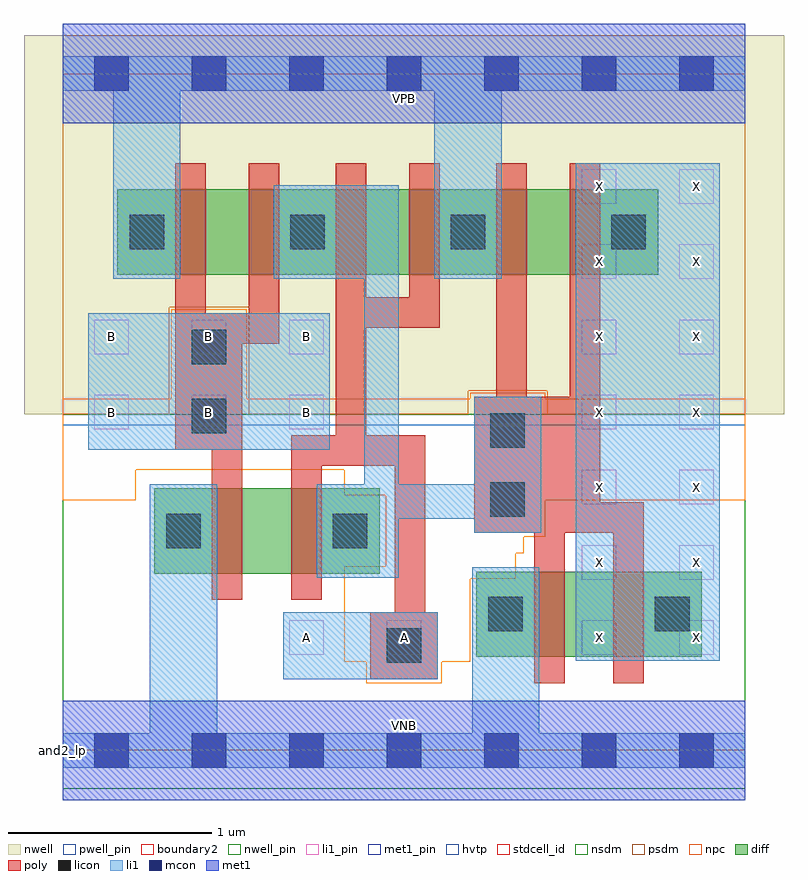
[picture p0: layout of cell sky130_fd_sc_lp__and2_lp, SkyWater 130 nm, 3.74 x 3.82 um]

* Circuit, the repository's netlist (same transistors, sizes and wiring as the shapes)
* Copyright 2020 The SkyWater PDK Authors
*
* Licensed under the Apache License, Version 2.0 (the "License");
* you may not use this file except in compliance with the License.
* You may obtain a copy of the License at
*
*     https://www.apache.org/licenses/LICENSE-2.0
*
* Unless required by applicable law or agreed to in writing, software
* distributed under the License is distributed on an "AS IS" BASIS,
* WITHOUT WARRANTIES OR CONDITIONS OF ANY KIND, either express or implied.
* See the License for the specific language governing permissions and
* limitations under the License.
*
* SPDX-License-Identifier: Apache-2.0

.SUBCKT sky130_fd_sc_lp__and2_lp A B VGND VNB VPB VPWR X
*.PININFO A:I B:I VGND:I VNB:I VPB:I VPWR:I X:O
MMP0 y A net25 VPB sky130_fd_pr__pfet_01v8_hvt m=1 w=0.42U l=0.15U mult=1 sa=0.265
+ sb=0.265 sd=0.28 area=0.063 perim=1.14
MMP1 y B net28 VPB sky130_fd_pr__pfet_01v8_hvt m=1 w=0.42U l=0.15U mult=1 sa=0.265
+ sb=0.265 sd=0.28 area=0.063 perim=1.14
MMIP0 X y net33 VPB sky130_fd_pr__pfet_01v8_hvt m=1 w=0.42U l=0.15U mult=1 sa=0.265
+ sb=0.265 sd=0.28 area=0.063 perim=1.14
MI8 net28 B VPWR VPB sky130_fd_pr__pfet_01v8_hvt m=1 w=0.42U l=0.15U mult=1 sa=0.265
+ sb=0.265 sd=0.28 area=0.063 perim=1.14
MI7 net25 A VPWR VPB sky130_fd_pr__pfet_01v8_hvt m=1 w=0.42U l=0.15U mult=1 sa=0.265
+ sb=0.265 sd=0.28 area=0.063 perim=1.14
MI6 net33 y VPWR VPB sky130_fd_pr__pfet_01v8_hvt m=1 w=0.42U l=0.15U mult=1 sa=0.265
+ sb=0.265 sd=0.28 area=0.063 perim=1.14
MMN0 y A sndA VNB sky130_fd_pr__nfet_01v8 m=1 w=0.42U l=0.15U mult=1 sa=0.265 sb=0.265
+ sd=0.28 area=0.063 perim=1.14
MMN1 sndA B VGND VNB sky130_fd_pr__nfet_01v8 m=1 w=0.42U l=0.15U mult=1 sa=0.265
+ sb=0.265 sd=0.28 area=0.063 perim=1.14
MMIN0 X y net45 VNB sky130_fd_pr__nfet_01v8 m=1 w=0.42U l=0.15U mult=1 sa=0.265
+ sb=0.265 sd=0.28 area=0.063 perim=1.14
MI5 net45 y VGND VNB sky130_fd_pr__nfet_01v8 m=1 w=0.42U l=0.15U mult=1 sa=0.265
+ sb=0.265 sd=0.28 area=0.063 perim=1.14
.ENDS sky130_fd_sc_lp__and2_lp

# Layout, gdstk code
import gdstk
lib = gdstk.Library(unit=1e-6, precision=1e-09)
def R(c, l, rs):  # rectangles x0, y0, x1, y1
    for r in rs: c.add(gdstk.rectangle(r[:2], r[2:], *l))
def A(c, l, x, y, w, h, nx, ny, dx, dy):  # array of equal rectangles
    R(c, l, [(x+i*dx, y+j*dy, x+i*dx+w, y+j*dy+h) for i in range(nx) for j in range(ny)])
def P(c, l, *ps):  # polygons
    for p in ps: c.add(gdstk.Polygon(p, *l))
nwell_pin = (64, 16)
nwell = (64, 20)
diff = (65, 20)
poly = (66, 20)
licon = (66, 44)
li1_pin = (67, 16)
li1 = (67, 20)
mcon = (67, 44)
met1_pin = (68, 16)
met1 = (68, 20)
hvtp = (78, 44)
stdcell_id = (81, 4)
nsdm = (93, 44)
psdm = (94, 20)
npc = (95, 20)
pwell_pin = (122, 16)
boundary2 = (236, 0)

sky130_fd_sc_lp__and2_lp = lib.new_cell('sky130_fd_sc_lp__and2_lp')
R(sky130_fd_sc_lp__and2_lp, nwell_pin, [(0,3.085,3.36,3.33)])
R(sky130_fd_sc_lp__and2_lp, nwell, [(-0.19,1.655,3.55,3.52)])
R(sky130_fd_sc_lp__and2_lp, diff, [(2.035,0.46,3.145,0.88), (0.45,0.87,1.56,1.29), (0.27,2.34,2.93,2.76)])
P(sky130_fd_sc_lp__and2_lp, poly, [(1.065,2.89),(0.915,2.89),(0.915,2.15),(0.705,2.15),(0.705,2.89),(0.555,2.89),(0.555,1.48),(0.735,1.48),(0.735,0.74),(0.885,0.74),(0.885,2),(1.065,2)],
  [(1.855,2.89),(1.705,2.89),(1.705,2.23),(1.495,2.23),(1.495,2.89),(1.345,2.89),(1.345,1.55),(1.125,1.55),(1.125,0.74),(1.275,0.74),(1.275,1.4),(1.635,1.4),(1.635,0.68),(1.515,0.68),(1.515,0.35),(1.845,0.35),(1.845,0.68),(1.785,0.68),(1.785,1.55),(1.495,1.55),(1.495,2.08),(1.855,2.08)],
  [(2.86,1.22),(2.645,1.22),(2.645,2.89),(2.495,2.89),(2.495,1.74),(2.285,1.74),(2.285,2.89),(2.135,2.89),(2.135,1.74),(2.025,1.74),(2.025,1.07),(2.32,1.07),(2.32,0.33),(2.47,0.33),(2.47,1.07),(2.71,1.07),(2.71,0.33),(2.86,0.33)])
A(sky130_fd_sc_lp__and2_lp, licon, 0.33, 2.465, 0.17, 0.17, 4, 1, 0.79, 0)
R(sky130_fd_sc_lp__and2_lp, licon, [(1.595,0.43,1.765,0.6), (2.095,0.585,2.265,0.755), (2.915,0.585,3.085,0.755), (0.51,0.995,0.68,1.165), (1.33,0.995,1.5,1.165), (2.105,1.15,2.275,1.32), (2.105,1.49,2.275,1.66), (0.635,1.56,0.805,1.73), (0.635,1.9,0.805,2.07)])
A(sky130_fd_sc_lp__and2_lp, li1_pin, 2.555, 0.47, 0.17, 0.17, 1, 7, 0, 0.37)
A(sky130_fd_sc_lp__and2_lp, li1_pin, 3.035, 0.47, 0.17, 0.17, 1, 7, 0, 0.37)
A(sky130_fd_sc_lp__and2_lp, li1_pin, 0.155, 1.58, 0.17, 0.17, 3, 2, 0.48, 0.37)
R(sky130_fd_sc_lp__and2_lp, li1_pin, [(1.115,0.47,1.285,0.64), (1.595,0.47,1.765,0.64)])
R(sky130_fd_sc_lp__and2_lp, li1, [(1.085,0.35,1.845,0.68), (2.525,0.44,3.235,2.89), (0.125,1.48,1.315,2.15)])
P(sky130_fd_sc_lp__and2_lp, li1, [(1.83,2.32),(1.83,3.245),(0.58,3.245),(0.58,2.32),(0.25,2.32),(0.25,3.245),(0,3.245),(0,3.415),(3.36,3.415),(3.36,3.245),(2.16,3.245),(2.16,2.32)],
  [(0.43,0.085),(0.43,1.31),(0.76,1.31),(0.76,0.085),(2.015,0.085),(2.015,0.9),(2.345,0.9),(2.345,0.085),(3.36,0.085),(3.36,-0.085),(0,-0.085),(0,0.085)],
  [(2.025,1.14),(1.655,1.14),(1.655,0.85),(1.25,0.85),(1.25,1.31),(1.485,1.31),(1.485,2.32),(1.04,2.32),(1.04,2.78),(1.655,2.78),(1.655,1.31),(2.025,1.31),(2.025,1.74),(2.355,1.74),(2.355,1.07),(2.025,1.07)])
A(sky130_fd_sc_lp__and2_lp, mcon, 0.155, -0.085, 0.17, 0.17, 7, 2, 0.48, 3.33)
R(sky130_fd_sc_lp__and2_lp, met1_pin, [(0,0,3.36,0.245), (0,3.085,3.36,3.33)])
R(sky130_fd_sc_lp__and2_lp, met1, [(0,-0.245,3.36,0.245), (0,3.085,3.36,3.575)])
R(sky130_fd_sc_lp__and2_lp, hvtp, [(0,1.6,3.36,3.33)])
R(sky130_fd_sc_lp__and2_lp, stdcell_id, [(0,0,3.36,3.33)])
R(sky130_fd_sc_lp__and2_lp, nsdm, [(0,-0.19,3.36,1.655)])
P(sky130_fd_sc_lp__and2_lp, psdm, [(3.36,3.52),(0,3.52),(0,1.655),(0.525,1.655),(0.525,2.18),(0.915,2.18),(0.915,1.655),(1.995,1.655),(1.995,1.77),(2.385,1.77),(2.385,1.655),(3.36,1.655)])
P(sky130_fd_sc_lp__and2_lp, npc, [(3.36,1.73),(2.375,1.73),(2.375,1.76),(2.005,1.76),(2.005,1.73),(0.905,1.73),(0.905,2.17),(0.535,2.17),(0.535,1.73),(0,1.73),(0,1.23),(0.36,1.23),(0.36,1.38),(1.385,1.38),(1.385,1.255),(1.59,1.255),(1.59,0.905),(1.385,0.905),(1.385,0.435),(1.495,0.435),(1.495,0.33),(1.865,0.33),(1.865,0.435),(2.005,0.435),(2.005,0.845),(2.23,0.845),(2.23,0.97),(2.27,0.97),(2.27,1.05),(2.375,1.05),(2.375,1.23),(3.36,1.23)])
R(sky130_fd_sc_lp__and2_lp, pwell_pin, [(0,0,3.36,0.245)])
R(sky130_fd_sc_lp__and2_lp, boundary2, [(0,0,3.36,3.33)])
sky130_fd_sc_lp__and2_lp.add(gdstk.Label('VNB', (1.68,0.123), layer=64, texttype=59))
sky130_fd_sc_lp__and2_lp.add(gdstk.Label('VPB', (1.68,3.208), layer=64, texttype=5))
sky130_fd_sc_lp__and2_lp.add(gdstk.Label('and2_lp', (0,0), layer=83, texttype=44))
sky130_fd_sc_lp__and2_lp.add(gdstk.Label('VPWR', (1.68,3.208), layer=68, texttype=5))
sky130_fd_sc_lp__and2_lp.add(gdstk.Label('VGND', (1.68,0.123), layer=68, texttype=5))
sky130_fd_sc_lp__and2_lp.add(gdstk.Label('A', (1.2,0.555), layer=67, texttype=5))
sky130_fd_sc_lp__and2_lp.add(gdstk.Label('A', (1.68,0.555), layer=67, texttype=5))
sky130_fd_sc_lp__and2_lp.add(gdstk.Label('B', (0.24,1.665), layer=67, texttype=5))
sky130_fd_sc_lp__and2_lp.add(gdstk.Label('B', (0.24,2.035), layer=67, texttype=5))
sky130_fd_sc_lp__and2_lp.add(gdstk.Label('B', (0.72,1.665), layer=67, texttype=5))
sky130_fd_sc_lp__and2_lp.add(gdstk.Label('B', (0.72,2.035), layer=67, texttype=5))
sky130_fd_sc_lp__and2_lp.add(gdstk.Label('B', (1.2,1.665), layer=67, texttype=5))
sky130_fd_sc_lp__and2_lp.add(gdstk.Label('B', (1.2,2.035), layer=67, texttype=5))
sky130_fd_sc_lp__and2_lp.add(gdstk.Label('X', (2.64,0.555), layer=67, texttype=5))
sky130_fd_sc_lp__and2_lp.add(gdstk.Label('X', (2.64,0.925), layer=67, texttype=5))
sky130_fd_sc_lp__and2_lp.add(gdstk.Label('X', (2.64,1.295), layer=67, texttype=5))
sky130_fd_sc_lp__and2_lp.add(gdstk.Label('X', (2.64,1.665), layer=67, texttype=5))
sky130_fd_sc_lp__and2_lp.add(gdstk.Label('X', (2.64,2.035), layer=67, texttype=5))
sky130_fd_sc_lp__and2_lp.add(gdstk.Label('X', (2.64,2.405), layer=67, texttype=5))
sky130_fd_sc_lp__and2_lp.add(gdstk.Label('X', (2.64,2.775), layer=67, texttype=5))
sky130_fd_sc_lp__and2_lp.add(gdstk.Label('X', (3.12,0.555), layer=67, texttype=5))
sky130_fd_sc_lp__and2_lp.add(gdstk.Label('X', (3.12,0.925), layer=67, texttype=5))
sky130_fd_sc_lp__and2_lp.add(gdstk.Label('X', (3.12,1.295), layer=67, texttype=5))
sky130_fd_sc_lp__and2_lp.add(gdstk.Label('X', (3.12,1.665), layer=67, texttype=5))
sky130_fd_sc_lp__and2_lp.add(gdstk.Label('X', (3.12,2.035), layer=67, texttype=5))
sky130_fd_sc_lp__and2_lp.add(gdstk.Label('X', (3.12,2.405), layer=67, texttype=5))
sky130_fd_sc_lp__and2_lp.add(gdstk.Label('X', (3.12,2.775), layer=67, texttype=5))

lib.write_gds('sky130_fd_sc_lp__and2_lp.gds')
